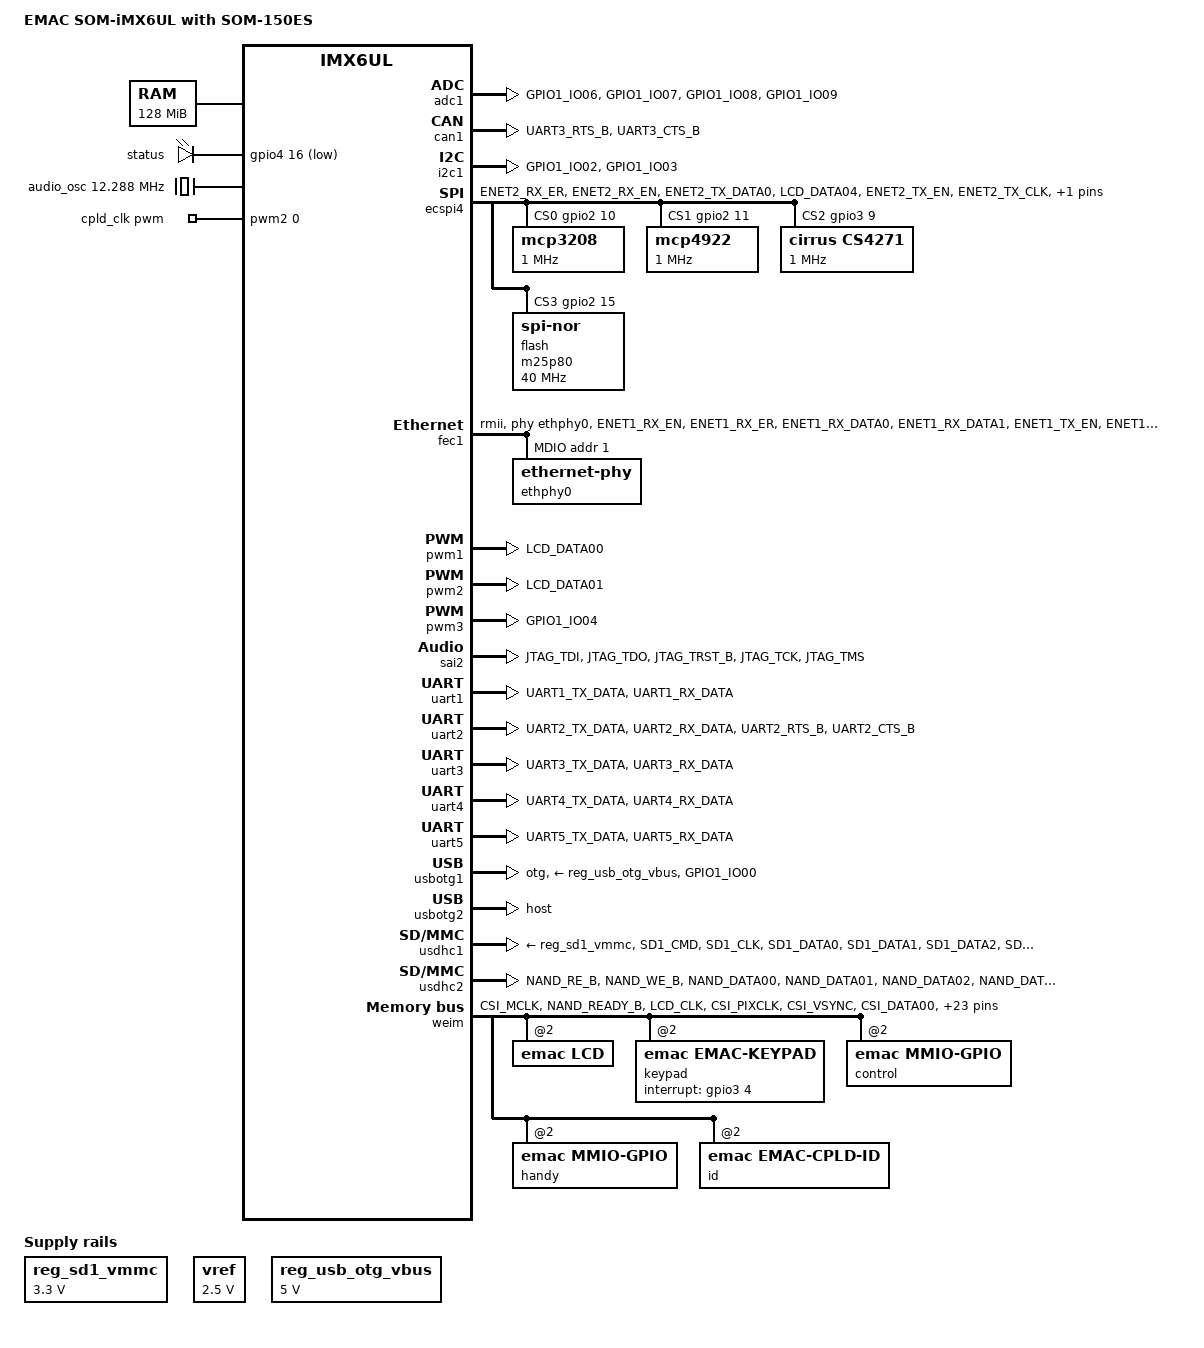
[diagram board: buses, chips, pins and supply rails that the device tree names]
/*
 * Copyright (C) 2016 EMAC Inc.
 *
 * This program is free software; you can redistribute it and/or modify
 * it under the terms of the GNU General Public License version 2 as
 * published by the Free Software Foundation.
 */

/dts-v1/;

#include "imx6ul.dtsi"

/ {
	model = "EMAC SOM-iMX6UL with SOM-150ES";
	compatible = "emac,som-imx6ul-150es", "fsl,imx6ul";

	chosen {
		stdout-path = &uart1;
	};

	memory {
		device_type = "memory";
		reg = <0x80000000 0x8000000>;
	};

	leds {
		compatible = "gpio-leds";
		stat {
			label = "status";
			gpios = <&gpio4 16 GPIO_ACTIVE_LOW>;
			default-state = "on";
		};
	};

	regulators {
		compatible = "simple-bus";
		#address-cells = <1>;
		#size-cells = <0>;

		reg_sd1_vmmc: sd1_regulator {
			compatible = "regulator-fixed";
			regulator-name = "VSD_3V3";
			regulator-min-microvolt = <3300000>;
			regulator-max-microvolt = <3300000>;
			regulator-always-on;
		};
		vref: regulator@0 {
			compatible = "regulator-fixed";
			reg = <0>;
			regulator-name = "vref";
			regulator-min-microvolt = <2500000>;
			regulator-max-microvolt = <2500000>;
			regulator-always-on;
		};
		reg_usb_otg_vbus: regulator-usb-otg-vbus {
			compatible = "regulator-fixed";
			pinctrl-names = "default";
			regulator-name = "usb_otg_vbus";
			regulator-min-microvolt = <5000000>;
			regulator-max-microvolt = <5000000>;
			regulator-always-on;
		};
	};

	clocks {
		audio_osc: audio_osc {
			compatible = "fixed-clock";
			#clock-cells = <0>;
			clock-frequency = <12288000>;
		};
	};

	sound {
		compatible = "simple-audio-card";
		simple-audio-card,name = "mx6ul-cs4271";
		simple-audio-card,format = "i2s";
		simple-audio-card,bitclock-master = <&codec_master>;
		simple-audio-card,frame-master = <&codec_master>;
		simple-audio-card,widgets =
			"Line", "Line In",
			"Line", "Line Out";
		simple-audio-card,routing =
			"Line In", "Capture",
			"Line Out", "Playback";

		cpu_master: simple-audio-card,cpu {
			sound-dai = <&sai2>;
		};

		codec_master: simple-audio-card,codec {
			sound-dai = <&cs4271>;
		};
	};

	/* for whatever reason this pwm clock has to be a the top level
	   not in clocks section above or it won't be seen */
	cpld_clk: cpld_clk {
		compatible = "pwm-clock";
		#clock-cells = <0>;
		clock-frequency = <200000>;
		pwms = <&pwm2 0 5000 0>;
		status="okay";
	};
};

&adc1 {
	pinctrl-names = "default";
	pinctrl-0 = <&pinctrl_adc1>;
	num-channels = <10>;
	status = "okay";
};

&can1 {
	pinctrl-names = "default";
	pinctrl-0 = <&pinctrl_flexcan1>;
	status = "okay";
};

&clks {
	assigned-clocks = <&clks IMX6UL_CLK_PLL4_AUDIO_DIV>;
	assigned-clock-rates = <786432000>;
};

&cpu0 {
	arm-supply = <&reg_arm>;
	soc-supply = <&reg_soc>;
};

&i2c1 {
	clock_frequency = <100000>;
	pinctrl-names = "default";
	pinctrl-0 = <&pinctrl_i2c1>;
	status = "okay";
};

&ecspi4 {
	pinctrl-names = "default";
	pinctrl-0 = <&pinctrl_ecspi4>;
	fsl,spi-num-chipselects = <4>;
	cs-gpios = <
		&gpio2 10 GPIO_ACTIVE_HIGH
		&gpio2 11 GPIO_ACTIVE_HIGH
		&gpio3  9 GPIO_ACTIVE_HIGH
		&gpio2 15 GPIO_ACTIVE_HIGH
	>;
	status = "okay";
	mcp3208: mcp320x@0 {
		compatible = "mcp3208";
		spi-max-frequency = <1000000>;
		spi-cpol;
		spi-cpha;
		reg = <0>;
		status = "okay";
	};
	mcp4922: mcp49x2@1 {
		compatible = "mcp4922";
		spi-max-frequency = <1000000>;
		spi-cpol;
		spi-cpha;
		reg = <1>;
		vref = <&vref>;
		status = "okay";
	};
	cs4271: cs4271@2 {
		#sound-dai-cells = <0>;
		compatible = "cirrus,cs4271";
		spi-cpol;
		spi-cpha;
		reg = <2>;
		clocks = <&audio_osc>;
		spi-max-frequency = <1000000>;
		status = "okay";
	};
	flash: m25p80@3 {
		compatible = "jedec,spi-nor";
		spi-max-frequency = <40000000>;
		reg = <3>;
		status = "okay";
	};
};

&fec1 {
	pinctrl-names = "default";
	pinctrl-0 = <&pinctrl_enet1>;
	phy-mode = "rmii";
	phy-handle = <&ethphy0>;
	status = "okay";

	mdio {
		#address-cells = <1>;
		#size-cells = <0>;

		ethphy0: ethernet-phy@1 {
			reg = <1>;
		};
	};
};


&pwm1 {
	pinctrl-names = "default";
	pinctrl-0 = <&pinctrl_pwm1>;
	status = "okay";
};

&pwm2 {
	pinctrl-names = "default";
	pinctrl-0 = <&pinctrl_pwm2>;
	status = "okay";
};

&pwm3 {
	pinctrl-names = "default";
	pinctrl-0 = <&pinctrl_pwm3>;
	status = "okay";
};

&qspi {
	pinctrl-names = "default";
	pinctrl-0 = <&pinctrl_qspi>;
	status = "disabled";
};

&sai2 {
	pinctrl-names = "default";
	pinctrl-0 = <&pinctrl_sai2>;
	status = "okay";
};

&snvs_poweroff {
	status = "okay";
};

&uart1 {
	pinctrl-names = "default";
	pinctrl-0 = <&pinctrl_uart1>;
	fsl,uart-has-rtscts;
	status = "okay";
};

&uart2 {
	pinctrl-names = "default";
	pinctrl-0 = <&pinctrl_uart2>;
	fsl,uart-has-rtscts;
	status = "okay";
};

&uart3 {
	pinctrl-names = "default";
	pinctrl-0 = <&pinctrl_uart3>;
	status = "okay";
};

&uart4 {
	pinctrl-names = "default";
	pinctrl-0 = <&pinctrl_uart4>;
	status = "okay";
};

&uart5 {
	pinctrl-names = "default";
	pinctrl-0 = <&pinctrl_uart5>;
	status = "okay";
};

&usbotg1 {
	vbus-supply = <&reg_usb_otg_vbus>;
	pinctrl-names = "default";
	pinctrl-0 = <&pinctrl_usb_otg1_id>;
	dr_mode = "otg";
	srp-disable;
	hnp-disable;
	adp-disable;
	status = "okay";
};

&usbotg2 {
	dr_mode = "host";
	disable-over-current;
	status = "okay";
};

&usdhc1 {
	pinctrl-names = "default", "state_100mhz", "state_200mhz";
	pinctrl-0 = <&pinctrl_usdhc1>;
	pinctrl-1 = <&pinctrl_usdhc1_100mhz>;
	keep-power-in-suspend;
	wakeup-source;
	vmmc-supply = <&reg_sd1_vmmc>;
	status = "okay";
};

&usdhc2 {
	pinctrl-names = "default";
	pinctrl-0 = <&pinctrl_usdhc2>;
	no-1-8-v;
	keep-power-in-suspend;
	wakeup-source;
	status = "okay";
};

//&wdog1 {
//	pinctrl-names = "default";
//	pinctrl-0 = <&pinctrl_wdog>;
//	fsl,ext-reset-output;
//};

&weim {
	pinctrl-names = "default";
	pinctrl-0 = <&pinctrl_weim>;
	status = "okay";

	ranges = <0 0 0x50000000 0x02000000
		  1 0 0x52000000 0x02000000
		  2 0 0x54000000 0x02000000
		  3 0 0x56000000 0x02000000>;

	porta@2,2 {
		compatible = "emac,mmio-gpio";
		reg-names = "dat", "dirout";
		reg = <2 2 1>, <2 3 1>;
		gpio-controller;
		#address-cells = <1>;
		#size-cells = <1>;
		bank-width = <1>;
		fsl,weim-cs-timing = <0x00040081 0x00000000 0x04000000
				      0x00000000 0x04000040 0x00000000>;
	};

	portb@2,4 {
		compatible = "emac,mmio-gpio";
		reg-names = "dat", "dirout";
		reg = <2 4 1>, <2 5 1>;
		gpio-controller;
		#address-cells = <1>;
		#size-cells = <1>;
		bank-width = <1>;
		fsl,weim-cs-timing = <0x00040081 0x00000000 0x04000000
				      0x00000000 0x04000040 0x00000000>;

	};

	portc@2,6 {
		compatible = "emac,mmio-gpio";
		reg-names = "dat";
		reg = <2 6 1>;
		gpio-controller;
		#address-cells = <1>;
		#size-cells = <1>;
		bank-width = <1>;
		fsl,weim-cs-timing = <0x00040081 0x00000000 0x04000000
				      0x00000000 0x04000040 0x00000000>;

	};
	lcd@2,0 {
		compatible = "emac,lcd";
		reg = <2 0 2>;
		#address-cells = <1>;
		#size-cells = <1>;
		bank-width = <1>;
		fsl,weim-cs-timing = <0x00040081 0x00000000 0x04000000
				      0x00000000 0x04000040 0x00000000>;

		status = "okay";
	};
	keypad@2,7 {
		compatible = "emac,emac-keypad";
		reg = <2 7 1>;
		#address-cells = <1>;
		#size-cells = <1>;
		bank-width = <1>;
		fsl,weim-cs-timing = <0x00040081 0x00000000 0x04000000
				      0x00000000 0x04000040 0x00000000>;

		clocks = <&cpld_clk>;
		clock-names = "cpldclk";

		pinctrl-names = "default";
		pinctrl-0 = <&pinctrl_keypad>;


		gpio-interrupt = <&gpio3 4 0x0>;
		keypad,num-rows = <4>;
		keypad,num-columns = <4>;
		linux,keymap = <0x0000001e /*A*/
				0x01000008 /*7*/
				0x02000005 /*4*/
				0x03000002 /*1*/
				0x0001000b /*0*/
				0x01010009 /*8*/
				0x02010006 /*5*/
				0x03010003 /*2*/
				0x00020030 /*B*/
				0x0102000a /*9*/
				0x02020007 /*6*/
				0x03020004 /*3*/
				0x00030021 /*F*/
				0x01030012 /*E*/
				0x02030020 /*D*/
				0x0303002e /*C*/
				>;
	};
	control@2,8 {
		compatible = "emac,mmio-gpio";
		reg-names = "dat";
		reg = <2 8 1>;
		gpio-controller;
		#address-cells = <1>;
		#size-cells = <1>;
		bank-width = <1>;
		fsl,weim-cs-timing = <0x00040081 0x00000000 0x04000000
				      0x00000000 0x04000040 0x00000000>;

	};
	handy@2,10 {
		compatible = "emac,mmio-gpio";
		reg-names = "dat", "dirout";
		reg = <2 10 1>, <2 11 1>;
		gpio-controller;
		#address-cells = <1>;
		#size-cells = <1>;
		bank-width = <1>;
		fsl,weim-cs-timing = <0x00040081 0x00000000 0x04000000
				      0x00000000 0x04000040 0x00000000>;

	};

	id@2,0xf {
		compatible = "emac,emac-cpld-id";
		reg = <2 0xf 1>;
		#address-cells = <1>;
		#size-cells = <1>;
		fsl,weim-cs-timing = <0x00040081 0x00000000 0x04000000
				      0x00000000 0x04000040 0x00000000>;
	};
};

&iomuxc {
	pinctrl-names = "default";

	pinctrl_adc1: adc1grp {
		fsl,pins = <
			MX6UL_PAD_GPIO1_IO06__GPIO1_IO06	0xb0
			MX6UL_PAD_GPIO1_IO07__GPIO1_IO07	0xb0
			MX6UL_PAD_GPIO1_IO08__GPIO1_IO08	0xb0
			MX6UL_PAD_GPIO1_IO09__GPIO1_IO09	0xb0
		>;
	};

	pinctrl_keypad: keypadgrp {
		fsl,pins = <
			MX6UL_PAD_LCD_RESET__GPIO3_IO04		0xb0
		>;
	};

	pinctrl_csi1: csi1grp {
		fsl,pins = <
			MX6UL_PAD_CSI_MCLK__CSI_MCLK		0x1b088
			MX6UL_PAD_CSI_PIXCLK__CSI_PIXCLK	0x1b088
			MX6UL_PAD_CSI_VSYNC__CSI_VSYNC		0x1b088
			MX6UL_PAD_CSI_HSYNC__CSI_HSYNC		0x1b088
			MX6UL_PAD_CSI_DATA00__CSI_DATA02	0x1b088
			MX6UL_PAD_CSI_DATA01__CSI_DATA03	0x1b088
			MX6UL_PAD_CSI_DATA02__CSI_DATA04	0x1b088
			MX6UL_PAD_CSI_DATA03__CSI_DATA05	0x1b088
			MX6UL_PAD_CSI_DATA04__CSI_DATA06	0x1b088
			MX6UL_PAD_CSI_DATA05__CSI_DATA07	0x1b088
			MX6UL_PAD_CSI_DATA06__CSI_DATA08	0x1b088
			MX6UL_PAD_CSI_DATA07__CSI_DATA09	0x1b088
		>;
	};

	pinctrl_ecspi4: ecspi4grp {
		fsl,pins = <
			MX6UL_PAD_ENET2_RX_ER__GPIO2_IO15	0x0b0b0
			MX6UL_PAD_ENET2_RX_EN__GPIO2_IO10	0x0b0b0
			MX6UL_PAD_ENET2_TX_DATA0__GPIO2_IO11	0x0b0b0
			MX6UL_PAD_LCD_DATA04__GPIO3_IO09	0x0b0b0
			MX6UL_PAD_ENET2_TX_EN__ECSPI4_MOSI	0x0b0b0
			MX6UL_PAD_ENET2_TX_CLK__ECSPI4_MISO	0x0b0b0
			MX6UL_PAD_ENET2_TX_DATA1__ECSPI4_SCLK	0x0b0b0
		>;
	};

	pinctrl_enet1: enet1grp {
		fsl,pins = <
			MX6UL_PAD_ENET1_RX_EN__ENET1_RX_EN	0x1b0b0
			MX6UL_PAD_ENET1_RX_ER__ENET1_RX_ER	0x1b0b0
			MX6UL_PAD_ENET1_RX_DATA0__ENET1_RDATA00	0x1b0b0
			MX6UL_PAD_ENET1_RX_DATA1__ENET1_RDATA01	0x1b0b0
			MX6UL_PAD_ENET1_TX_EN__ENET1_TX_EN	0x1b0b0
			MX6UL_PAD_ENET1_TX_DATA0__ENET1_TDATA00	0x1b0b0
			MX6UL_PAD_ENET1_TX_DATA1__ENET1_TDATA01	0x1b0b0
			MX6UL_PAD_ENET1_TX_CLK__ENET1_REF_CLK1	0x4001b031
		>;
	};

	pinctrl_enet2: enet2grp {
		fsl,pins = <
			MX6UL_PAD_GPIO1_IO07__ENET2_MDC		0x1b0b0
			MX6UL_PAD_GPIO1_IO06__ENET2_MDIO	0x1b0b0
			MX6UL_PAD_ENET2_RX_EN__ENET2_RX_EN	0x1b0b0
			MX6UL_PAD_ENET2_RX_ER__ENET2_RX_ER	0x1b0b0
			MX6UL_PAD_ENET2_RX_DATA0__ENET2_RDATA00	0x1b0b0
			MX6UL_PAD_ENET2_RX_DATA1__ENET2_RDATA01	0x1b0b0
			MX6UL_PAD_ENET2_TX_EN__ENET2_TX_EN	0x1b0b0
			MX6UL_PAD_ENET2_TX_DATA0__ENET2_TDATA00	0x1b0b0
			MX6UL_PAD_ENET2_TX_DATA1__ENET2_TDATA01	0x1b0b0
			MX6UL_PAD_ENET2_TX_CLK__ENET2_REF_CLK2	0x4001b031
			MX6UL_PAD_SNVS_TAMPER0__GPIO5_IO00	0x17059
		>;
	};

	pinctrl_flexcan1: flexcan1grp {
		fsl,pins = <
			MX6UL_PAD_UART3_RTS_B__FLEXCAN1_RX	0x0b0b0
			MX6UL_PAD_UART3_CTS_B__FLEXCAN1_TX	0x0b0b0
		>;
	};

	pinctrl_flexcan2: flexcan2grp {
		fsl,pins = <
			MX6UL_PAD_UART2_RTS_B__FLEXCAN2_RX	0x1b020
			MX6UL_PAD_UART2_CTS_B__FLEXCAN2_TX	0x1b020
		>;
	};

	pinctrl_i2c1: i2c1grp {
		fsl,pins = <
			MX6UL_PAD_GPIO1_IO02__I2C1_SCL 0x4001b8b0
			MX6UL_PAD_GPIO1_IO03__I2C1_SDA 0x4001b8b0
		>;
	};

	pinctrl_i2c2: i2c2grp {
		fsl,pins = <
			MX6UL_PAD_UART5_TX_DATA__I2C2_SCL 0x4001b8b0
			MX6UL_PAD_UART5_RX_DATA__I2C2_SDA 0x4001b8b0
		>;
	};

	pinctrl_qspi: qspigrp {
		fsl,pins = <
			MX6UL_PAD_NAND_WP_B__QSPI_A_SCLK	0x70a1
			MX6UL_PAD_NAND_READY_B__QSPI_A_DATA00	0x70a1
			MX6UL_PAD_NAND_CE0_B__QSPI_A_DATA01	0x70a1
			MX6UL_PAD_NAND_CE1_B__QSPI_A_DATA02	0x70a1
			MX6UL_PAD_NAND_CLE__QSPI_A_DATA03	0x70a1
			MX6UL_PAD_NAND_DQS__QSPI_A_SS0_B	0x70a1
		>;
	};

	pinctrl_sai2: sai2grp {
		fsl,pins = <
			MX6UL_PAD_JTAG_TDI__SAI2_TX_BCLK	0x0b0b0
			MX6UL_PAD_JTAG_TDO__SAI2_TX_SYNC	0x0b0b0
			MX6UL_PAD_JTAG_TRST_B__SAI2_TX_DATA	0x0b0b0
			MX6UL_PAD_JTAG_TCK__SAI2_RX_DATA	0x0b0b0
			MX6UL_PAD_JTAG_TMS__SAI2_MCLK		0x0b0b0
		>;
	};

	pinctrl_pwm1: pwm1grp {
		fsl,pins = <
			MX6UL_PAD_LCD_DATA00__PWM1_OUT		0x110b0
		>;
	};

	pinctrl_pwm2: pwm2grp {
		fsl,pins = <
			MX6UL_PAD_LCD_DATA01__PWM2_OUT		0x110b0
		>;
	};

	pinctrl_pwm3: pwm3grp {
		fsl,pins = <
			MX6UL_PAD_GPIO1_IO04__PWM3_OUT		0x1b0b1
		>;
	};

	pinctrl_usb_otg1_id: usbotg1idgrp {
		fsl,pins = <
			MX6UL_PAD_GPIO1_IO00__ANATOP_OTG1_ID	0x17059
		>;
	};

	pinctrl_uart1: uart1grp {
		fsl,pins = <
			MX6UL_PAD_UART1_TX_DATA__UART1_DCE_TX 0x1b0b1
			MX6UL_PAD_UART1_RX_DATA__UART1_DCE_RX 0x1b0b1
		>;
	};

	pinctrl_uart2: uart2grp {
		fsl,pins = <
			MX6UL_PAD_UART2_TX_DATA__UART2_DCE_TX	0x1b0b1
			MX6UL_PAD_UART2_RX_DATA__UART2_DCE_RX	0x1b0b1
			MX6UL_PAD_UART2_RTS_B__UART2_DCE_RTS	0x1b0b1
			MX6UL_PAD_UART2_CTS_B__UART2_DCE_CTS	0x1b0b1
		>;
	};

	pinctrl_uart3: uart3grp {
		fsl,pins = <
			MX6UL_PAD_UART3_TX_DATA__UART3_DCE_TX 0x1b0b1
			MX6UL_PAD_UART3_RX_DATA__UART3_DCE_RX 0x1b0b1
		>;
	};

	pinctrl_uart4: uart4grp {
		fsl,pins = <
			MX6UL_PAD_UART4_TX_DATA__UART4_DCE_TX 0x1b0b1
			MX6UL_PAD_UART4_RX_DATA__UART4_DCE_RX 0x1b0b1
		>;
	};

	pinctrl_uart5: uart5grp {
		fsl,pins = <
			MX6UL_PAD_UART5_TX_DATA__UART5_DCE_TX 0x1b0b1
			MX6UL_PAD_UART5_RX_DATA__UART5_DCE_RX 0x1b0b1
		>;
	};

	pinctrl_usdhc1: usdhc1grp {
		fsl,pins = <
			MX6UL_PAD_SD1_CMD__USDHC1_CMD     	0x17059
			MX6UL_PAD_SD1_CLK__USDHC1_CLK     	0x10059
			MX6UL_PAD_SD1_DATA0__USDHC1_DATA0 	0x17059
			MX6UL_PAD_SD1_DATA1__USDHC1_DATA1 	0x17059
			MX6UL_PAD_SD1_DATA2__USDHC1_DATA2 	0x17059
			MX6UL_PAD_SD1_DATA3__USDHC1_DATA3 	0x17059
		>;
	};

	pinctrl_usdhc1_100mhz: usdhc1grp100mhz {
		fsl,pins = <
			MX6UL_PAD_SD1_CMD__USDHC1_CMD     0x170b9
			MX6UL_PAD_SD1_CLK__USDHC1_CLK     0x100b9
			MX6UL_PAD_SD1_DATA0__USDHC1_DATA0 0x170b9
			MX6UL_PAD_SD1_DATA1__USDHC1_DATA1 0x170b9
			MX6UL_PAD_SD1_DATA2__USDHC1_DATA2 0x170b9
			MX6UL_PAD_SD1_DATA3__USDHC1_DATA3 0x170b9

		>;
	};

	pinctrl_usdhc1_200mhz: usdhc1grp200mhz {
		fsl,pins = <
			MX6UL_PAD_SD1_CMD__USDHC1_CMD     0x170f9
			MX6UL_PAD_SD1_CLK__USDHC1_CLK     0x100f9
			MX6UL_PAD_SD1_DATA0__USDHC1_DATA0 0x170f9
			MX6UL_PAD_SD1_DATA1__USDHC1_DATA1 0x170f9
			MX6UL_PAD_SD1_DATA2__USDHC1_DATA2 0x170f9
			MX6UL_PAD_SD1_DATA3__USDHC1_DATA3 0x170f9
		>;
	};

	pinctrl_usdhc2: usdhc2grp {
		fsl,pins = <
			MX6UL_PAD_NAND_RE_B__USDHC2_CLK     0x17059
			MX6UL_PAD_NAND_WE_B__USDHC2_CMD     0x17059
			MX6UL_PAD_NAND_DATA00__USDHC2_DATA0 0x17059
			MX6UL_PAD_NAND_DATA01__USDHC2_DATA1 0x17059
			MX6UL_PAD_NAND_DATA02__USDHC2_DATA2 0x17059
			MX6UL_PAD_NAND_DATA03__USDHC2_DATA3 0x17059
		>;
	};

	pinctrl_wdog: wdoggrp {
		fsl,pins = <
			MX6UL_PAD_LCD_RESET__WDOG1_WDOG_ANY    0x30b0
		>;
	};
	pinctrl_weim: weimgrp {
		fsl,pins = <
			MX6UL_PAD_CSI_MCLK__EIM_CS0_B		0xb0b1
			MX6UL_PAD_NAND_READY_B__EIM_CS1_B	0xb0b1
			MX6UL_PAD_LCD_CLK__EIM_CS2_B		0xb0b1
			MX6UL_PAD_CSI_PIXCLK__EIM_OE		0xb0b1
			MX6UL_PAD_CSI_VSYNC__EIM_RW		0xb0b1
			MX6UL_PAD_CSI_DATA00__EIM_AD00		0xb0b1
			MX6UL_PAD_CSI_DATA01__EIM_AD01		0xb0b1
			MX6UL_PAD_CSI_DATA02__EIM_AD02		0xb0b1
			MX6UL_PAD_CSI_DATA03__EIM_AD03		0xb0b1
			MX6UL_PAD_CSI_DATA04__EIM_AD04		0xb0b1
			MX6UL_PAD_CSI_DATA05__EIM_AD05		0xb0b1
			MX6UL_PAD_CSI_DATA06__EIM_AD06		0xb0b1
			MX6UL_PAD_CSI_DATA07__EIM_AD07		0xb0b1
			MX6UL_PAD_LCD_DATA08__EIM_DATA00	0x1b0b0
			MX6UL_PAD_LCD_DATA09__EIM_DATA01	0x1b0b0
			MX6UL_PAD_LCD_DATA10__EIM_DATA02	0x1b0b0
			MX6UL_PAD_LCD_DATA11__EIM_DATA03	0x1b0b0
			MX6UL_PAD_LCD_DATA12__EIM_DATA04	0x1b0b0
			MX6UL_PAD_LCD_DATA13__EIM_DATA05	0x1b0b0
			MX6UL_PAD_LCD_DATA14__EIM_DATA06	0x1b0b0
			MX6UL_PAD_LCD_DATA15__EIM_DATA07	0x1b0b0
			MX6UL_PAD_LCD_DATA16__EIM_DATA08	0x1b0b0
			MX6UL_PAD_LCD_DATA17__EIM_DATA09	0x1b0b0
			MX6UL_PAD_LCD_DATA18__EIM_DATA10	0x1b0b0
			MX6UL_PAD_LCD_DATA19__EIM_DATA11	0x1b0b0
			MX6UL_PAD_LCD_DATA20__EIM_DATA12	0x1b0b0
			MX6UL_PAD_LCD_DATA21__EIM_DATA13	0x1b0b0
			MX6UL_PAD_LCD_DATA22__EIM_DATA14	0x1b0b0
			MX6UL_PAD_LCD_DATA23__EIM_DATA15	0x1b0b0
		>;
	};
};
